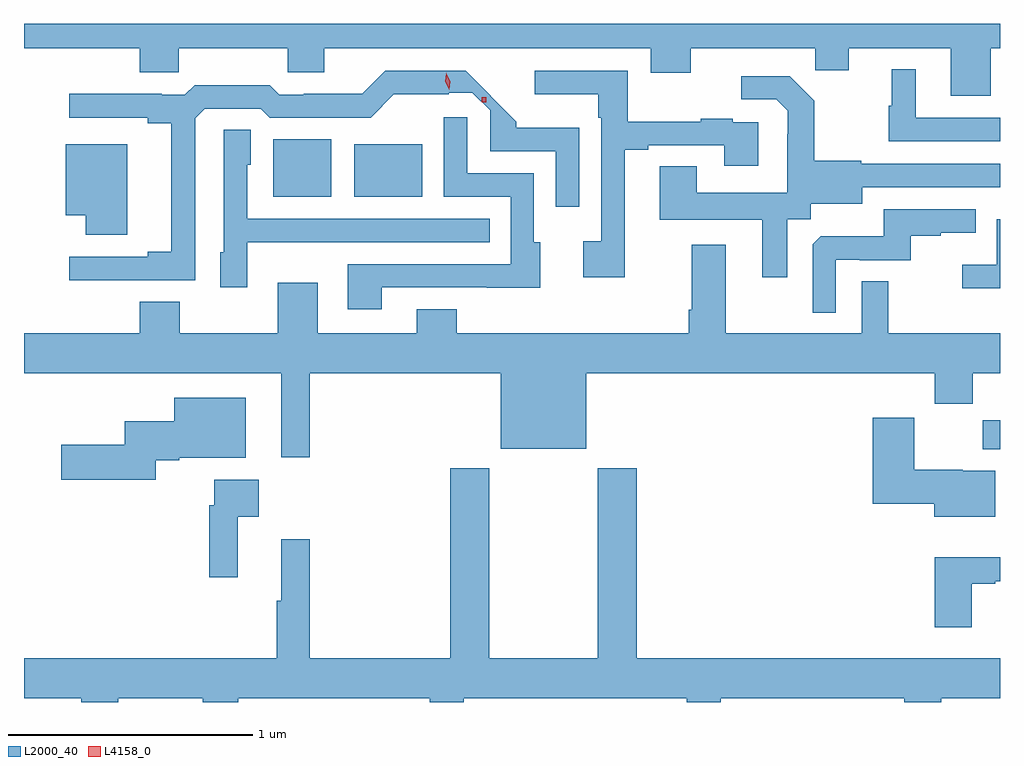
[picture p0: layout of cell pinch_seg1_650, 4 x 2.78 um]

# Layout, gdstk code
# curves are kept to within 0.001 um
import gdstk
lib = gdstk.Library(unit=1e-6, precision=1e-09)
def R(c, l, rs):  # rectangles x0, y0, x1, y1
    for r in rs: c.add(gdstk.rectangle(r[:2], r[2:], *l))
def P(c, l, *ps):  # polygons
    for p in ps: c.add(gdstk.Polygon(p, *l))
L2000_40 = (2000, 40)
L4158_0 = (4158, 0)

pinch_seg1_650 = lib.new_cell('pinch_seg1_650')
R(pinch_seg1_650, L2000_40, [(771.178,582.056,771.248,582.175), (768.269,583.091,768.508,583.327), (768.602,583.091,768.88,583.306)])
P(pinch_seg1_650, L2000_40, [(767.248,583.7),(767.723,583.7),(767.723,583.602),(767.883,583.602),(767.883,583.7),(768.328,583.7),(768.328,583.602),(768.478,583.602),(768.478,583.7),(769.817,583.7),(769.817,583.601),(769.981,583.601),(769.981,583.7),(770.491,583.7),(770.491,583.61),(770.629,583.61),(770.629,583.7),(771.047,583.7),(771.047,583.506),(771.211,583.506),(771.211,583.7),(771.248,583.7),(771.248,583.8),(767.248,583.8)],
  [(771.248,583.416),(770.902,583.416),(770.902,583.615),(770.804,583.615),(770.804,583.464),(770.793,583.464),(770.793,583.32),(771.248,583.32)],
  [(767.949,583.413),(767.988,583.452),(768.219,583.452),(768.255,583.416),(768.669,583.416),(768.764,583.511),(768.989,583.511),(768.989,583.518),(769.086,583.518),(769.158,583.446),(769.158,583.278),(769.428,583.278),(769.428,583.05),(769.524,583.05),(769.524,583.375),(769.266,583.375),(769.266,583.4),(769.058,583.608),(768.729,583.608),(768.635,583.514),(768.394,583.514),(768.394,583.509),(768.294,583.509),(768.255,583.549),(767.947,583.549),(767.907,583.509),(767.813,583.509),(767.813,583.514),(767.433,583.514),(767.433,583.416),(767.756,583.416),(767.756,583.394),(767.852,583.394),(767.852,582.866),(767.756,582.866),(767.756,582.846),(767.433,582.846),(767.433,582.75),(767.949,582.75)],
  [(769.711,583.284),(769.807,583.284),(769.807,583.302),(770.117,583.302),(770.117,583.218),(770.257,583.218),(770.257,583.398),(770.153,583.398),(770.153,583.411),(770.021,583.411),(770.021,583.4),(769.723,583.4),(769.723,583.608),(769.341,583.608),(769.341,583.511),(769.602,583.511),(769.602,583.415),(769.614,583.415),(769.614,582.91),(769.539,582.91),(769.539,582.762),(769.711,582.762)],
  [(770.377,583),(770.472,583),(770.472,583.064),(770.683,583.064),(770.683,583.131),(771.248,583.13),(771.248,583.227),(770.679,583.227),(770.679,583.24),(770.487,583.24),(770.487,583.485),(770.387,583.585),(770.187,583.585),(770.187,583.491),(770.331,583.491),(770.378,583.444),(770.378,583.349),(770.376,583.349),(770.376,583.108),(770.005,583.108),(770.005,583.217),(769.853,583.217),(769.853,582.998),(770.273,582.998),(770.273,582.762),(770.377,582.762)],
  [(768.715,582.72),(769.145,582.72),(769.145,582.719),(769.363,582.719),(769.363,582.906),(769.338,582.906),(769.338,583.188),(769.065,583.188),(769.065,583.417),(768.969,583.417),(768.969,583.092),(769.242,583.092),(769.242,582.816),(768.575,582.816),(768.575,582.63),(768.715,582.63)],
  [(768.162,582.905),(768.479,582.905),(768.479,582.906),(769.157,582.906),(769.157,583.002),(768.162,583.002),(768.162,583.224),(768.178,583.224),(768.178,583.367),(768.066,583.367),(768.066,582.864),(768.053,582.864),(768.053,582.72),(768.162,582.72)],
  [(767.671,583.306),(767.42,583.306),(767.42,583.016),(767.501,583.016),(767.501,582.936),(767.671,582.936)],
  [(770.574,582.834),(770.674,582.834),(770.674,582.831),(770.882,582.831),(770.882,582.933),(771.005,582.933),(771.005,582.944),(771.149,582.944),(771.149,583.041),(770.772,583.041),(770.772,582.929),(770.513,582.929),(770.481,582.897),(770.481,582.617),(770.574,582.617)],
  [(771.248,582.999),(771.234,582.999),(771.234,582.814),(771.093,582.814),(771.093,582.716),(771.248,582.716)],
  [(768.419,582.368),(769.202,582.368),(769.202,582.059),(769.552,582.059),(769.552,582.368),(770.981,582.368),(770.981,582.244),(771.137,582.244),(771.137,582.368),(771.248,582.368),(771.248,582.532),(770.791,582.532),(770.791,582.746),(770.682,582.746),(770.682,582.532),(770.125,582.532),(770.125,582.895),(769.985,582.895),(769.985,582.628),(769.973,582.628),(769.973,582.532),(769.021,582.532),(769.021,582.631),(768.857,582.631),(768.857,582.532),(768.451,582.532),(768.451,582.739),(768.287,582.739),(768.287,582.532),(767.887,582.532),(767.887,582.661),(767.723,582.661),(767.723,582.532),(767.248,582.532),(767.248,582.368),(768.302,582.368),(768.302,582.024),(768.419,582.024)],
  [(767.788,582.011),(767.884,582.011),(767.884,582.023),(768.157,582.023),(768.157,582.268),(767.864,582.268),(767.864,582.172),(767.66,582.172),(767.66,582.075),(767.4,582.075),(767.4,581.933),(767.788,581.933)],
  [(771.229,581.968),(771.096,581.968),(771.096,581.974),(770.896,581.974),(770.896,582.187),(770.726,582.187),(770.726,581.834),(770.978,581.834),(770.978,581.78),(771.229,581.78)],
  [(767.635,581.036),(767.98,581.036),(767.98,581.021),(768.127,581.021),(768.127,581.036),(768.911,581.036),(768.911,581.021),(769.051,581.021),(769.051,581.036),(769.965,581.036),(769.965,581.021),(770.103,581.021),(770.103,581.036),(770.855,581.036),(770.855,581.021),(771.008,581.021),(771.008,581.036),(771.248,581.036),(771.248,581.2),(769.76,581.2),(769.76,581.98),(769.6,581.98),(769.6,581.2),(769.155,581.2),(769.155,581.98),(768.995,581.98),(768.995,581.2),(768.419,581.2),(768.419,581.689),(768.302,581.689),(768.302,581.436),(768.283,581.436),(768.283,581.2),(767.248,581.2),(767.248,581.036),(767.483,581.036),(767.483,581.021),(767.635,581.021)],
  [(768.125,581.78),(768.211,581.78),(768.211,581.932),(768.027,581.932),(768.027,581.828),(768.007,581.828),(768.007,581.532),(768.125,581.532)],
  [(771.133,581.505),(771.229,581.505),(771.229,581.517),(771.248,581.517),(771.248,581.614),(770.981,581.614),(770.981,581.328),(771.133,581.328)])
R(pinch_seg1_650, L4158_0, [(769.123,583.48,769.143,583.5)])
P(pinch_seg1_650, L4158_0, [(768.99,583.53),(768.99,583.53),(768.975,583.563),(768.979,583.599),(768.979,583.6),(768.979,583.599),(768.994,583.566),(768.99,583.53)])

lib.write_gds('pinch_seg1_650.gds')
